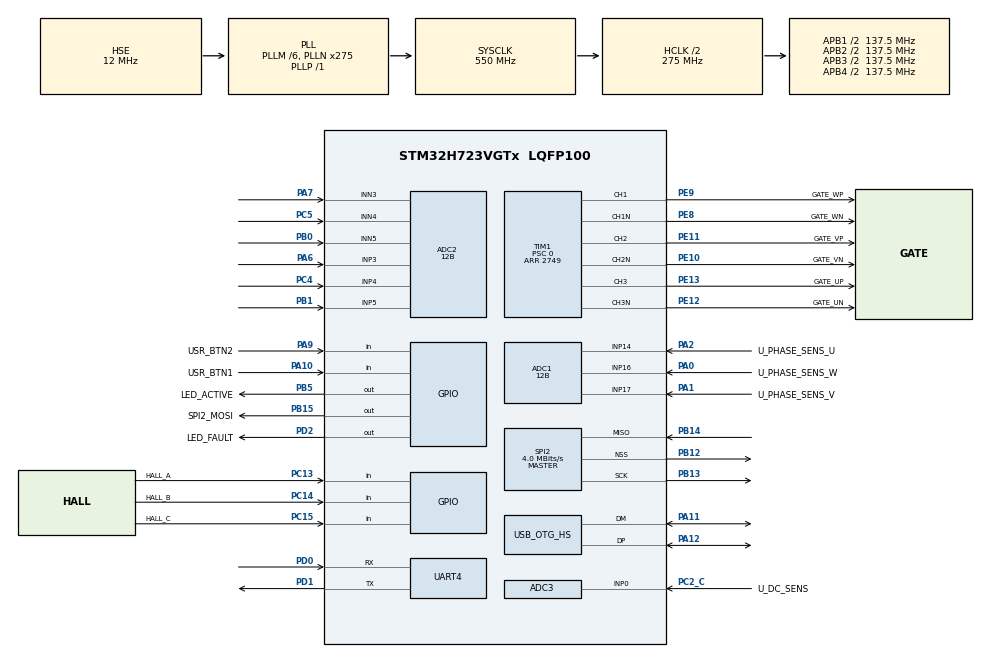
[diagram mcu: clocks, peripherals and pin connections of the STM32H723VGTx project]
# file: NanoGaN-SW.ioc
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ADC1.Channel-1\#ChannelRegularConversion=ADC_CHANNEL_14
ADC1.Channel-2\#ChannelRegularConversion=ADC_CHANNEL_17
ADC1.Channel-3\#ChannelRegularConversion=ADC_CHANNEL_16
ADC1.ClockPrescaler=ADC_CLOCK_ASYNC_DIV1
ADC1.ConversionDataManagement=ADC_CONVERSIONDATA_DMA_CIRCULAR
ADC1.EOCSelection=ADC_EOC_SEQ_CONV
ADC1.ExternalTrigConv=ADC_EXTERNALTRIG_T2_TRGO
ADC1.NbrOfConversion=3
ADC1.NbrOfConversionFlag=1
ADC1.OffsetNumber-1\#ChannelRegularConversion=ADC_OFFSET_NONE
ADC1.OffsetNumber-2\#ChannelRegularConversion=ADC_OFFSET_NONE
ADC1.OffsetNumber-3\#ChannelRegularConversion=ADC_OFFSET_NONE
ADC1.OffsetSignedSaturation-1\#ChannelRegularConversion=DISABLE
ADC1.Rank-1\#ChannelRegularConversion=1
ADC1.Rank-2\#ChannelRegularConversion=2
ADC1.Rank-3\#ChannelRegularConversion=3
ADC1.Resolution=ADC_RESOLUTION_12B
ADC1.SamplingTime-1\#ChannelRegularConversion=ADC_SAMPLETIME_32CYCLES_5
ADC1.SamplingTime-2\#ChannelRegularConversion=ADC_SAMPLETIME_32CYCLES_5
ADC1.SamplingTime-3\#ChannelRegularConversion=ADC_SAMPLETIME_32CYCLES_5
ADC1.master=1
ADC2.Channel-2\#ChannelRegularConversion=ADC_CHANNEL_5
ADC2.Channel-3\#ChannelRegularConversion=ADC_CHANNEL_4
ADC2.Channel-4\#ChannelRegularConversion=ADC_CHANNEL_3
ADC2.ConversionDataManagement=ADC_CONVERSIONDATA_DMA_CIRCULAR
ADC2.EOCSelection=ADC_EOC_SEQ_CONV
ADC2.EnableAnalogWatchDog1=true
ADC2.EnableAnalogWatchDog2=false
ADC2.ExternalTrigConv=ADC_EXTERNALTRIG_T2_TRGO
ADC2.NbrOfConversion=3
ADC2.NbrOfConversionFlag=1
ADC2.OffsetNumber-2\#ChannelRegularConversion=ADC_OFFSET_NONE
ADC2.OffsetNumber-3\#ChannelRegularConversion=ADC_OFFSET_NONE
ADC2.OffsetNumber-4\#ChannelRegularConversion=ADC_OFFSET_NONE
ADC2.OffsetSignedSaturation-2\#ChannelRegularConversion=DISABLE
ADC2.Rank-2\#ChannelRegularConversion=1
ADC2.Rank-3\#ChannelRegularConversion=2
ADC2.Rank-4\#ChannelRegularConversion=3
ADC2.Resolution=ADC_RESOLUTION_12B
ADC2.SamplingTime-2\#ChannelRegularConversion=ADC_SAMPLETIME_32CYCLES_5
ADC2.SamplingTime-3\#ChannelRegularConversion=ADC_SAMPLETIME_32CYCLES_5
ADC2.SamplingTime-4\#ChannelRegularConversion=ADC_SAMPLETIME_32CYCLES_5
ADC2.SingleDiff-2\#ChannelRegularConversion=ADC_DIFFERENTIAL_ENDED
ADC2.SingleDiff-3\#ChannelRegularConversion=ADC_DIFFERENTIAL_ENDED
ADC2.SingleDiff-4\#ChannelRegularConversion=ADC_DIFFERENTIAL_ENDED
ADC2.WatchdogMode=ADC_ANALOGWATCHDOG_ALL_REG
ADC3.AWD1FilteringConfig=ADC3_AWD_FILTERING_8SAMPLES
ADC3.Channel-2\#ChannelRegularConversion=ADC_CHANNEL_0
ADC3.ClockPrescaler=ADC_CLOCK_ASYNC_DIV1
ADC3.ContinuousConvMode=DISABLE
ADC3.ConversionDataManagement=ADC_CONVERSIONDATA_DMA_CIRCULAR
ADC3.DMAContinuousRequests=ENABLE
ADC3.EOCSelection=ADC_EOC_SEQ_CONV
ADC3.EnableAnalogWatchDog1=true
ADC3.EnableAnalogWatchDog2=false
ADC3.EnableRegularConversion=ENABLE
ADC3.ExternalTrigConv=ADC_EXTERNALTRIG_T2_TRGO
ADC3.NbrOfConversion=1
ADC3.NbrOfConversionFlag=1
ADC3.OffsetNumber-2\#ChannelRegularConversion=ADC_OFFSET_NONE
ADC3.OffsetSign-2\#ChannelRegularConversion=ADC3_OFFSET_SIGN_NEGATIVE
ADC3.OversamplingMode=DISABLE
ADC3.Rank-2\#ChannelRegularConversion=1
ADC3.SamplingTime-2\#ChannelRegularConversion=ADC3_SAMPLETIME_47CYCLES_5
ADC3.WatchdogMode=ADC_ANALOGWATCHDOG_ALL_REG
CORTEX_M7.CPU_DCache=Disabled
CORTEX_M7.CPU_ICache=Enabled
CORTEX_M7.default_mode_Activation=1
Dma.ADC1.0.Direction=DMA_PERIPH_TO_MEMORY
Dma.ADC1.0.EventEnable=DISABLE
Dma.ADC1.0.FIFOMode=DMA_FIFOMODE_DISABLE
Dma.ADC1.0.Instance=DMA1_Stream0
Dma.ADC1.0.MemDataAlignment=DMA_MDATAALIGN_WORD
Dma.ADC1.0.MemInc=DMA_MINC_ENABLE
Dma.ADC1.0.Mode=DMA_CIRCULAR
Dma.ADC1.0.PeriphDataAlignment=DMA_PDATAALIGN_WORD
Dma.ADC1.0.PeriphInc=DMA_PINC_DISABLE
Dma.ADC1.0.Polarity=HAL_DMAMUX_REQ_GEN_RISING
Dma.ADC1.0.Priority=DMA_PRIORITY_LOW
Dma.ADC1.0.RequestNumber=1
Dma.ADC1.0.SignalID=NONE
Dma.ADC1.0.SyncEnable=DISABLE
Dma.ADC1.0.SyncPolarity=HAL_DMAMUX_SYNC_NO_EVENT
Dma.ADC1.0.SyncRequestNumber=1
Dma.ADC1.0.SyncSignalID=NONE
Dma.ADC2.1.Direction=DMA_PERIPH_TO_MEMORY
Dma.ADC2.1.EventEnable=DISABLE
Dma.ADC2.1.FIFOMode=DMA_FIFOMODE_DISABLE
Dma.ADC2.1.Instance=DMA1_Stream1
Dma.ADC2.1.MemDataAlignment=DMA_MDATAALIGN_WORD
Dma.ADC2.1.MemInc=DMA_MINC_ENABLE
Dma.ADC2.1.Mode=DMA_CIRCULAR
Dma.ADC2.1.PeriphDataAlignment=DMA_PDATAALIGN_WORD
Dma.ADC2.1.PeriphInc=DMA_PINC_DISABLE
Dma.ADC2.1.Polarity=HAL_DMAMUX_REQ_GEN_RISING
Dma.ADC2.1.Priority=DMA_PRIORITY_LOW
Dma.ADC2.1.RequestNumber=1
Dma.ADC2.1.SignalID=NONE
Dma.ADC2.1.SyncEnable=DISABLE
Dma.ADC2.1.SyncPolarity=HAL_DMAMUX_SYNC_NO_EVENT
Dma.ADC2.1.SyncRequestNumber=1
Dma.ADC2.1.SyncSignalID=NONE
Dma.ADC3.2.Direction=DMA_PERIPH_TO_MEMORY
Dma.ADC3.2.EventEnable=DISABLE
Dma.ADC3.2.FIFOMode=DMA_FIFOMODE_DISABLE
Dma.ADC3.2.Instance=DMA1_Stream2
Dma.ADC3.2.MemDataAlignment=DMA_MDATAALIGN_WORD
Dma.ADC3.2.MemInc=DMA_MINC_ENABLE
Dma.ADC3.2.Mode=DMA_CIRCULAR
Dma.ADC3.2.PeriphDataAlignment=DMA_PDATAALIGN_WORD
Dma.ADC3.2.PeriphInc=DMA_PINC_DISABLE
Dma.ADC3.2.Polarity=HAL_DMAMUX_REQ_GEN_RISING
Dma.ADC3.2.Priority=DMA_PRIORITY_LOW
Dma.ADC3.2.RequestNumber=1
Dma.ADC3.2.SignalID=NONE
Dma.ADC3.2.SyncEnable=DISABLE
Dma.ADC3.2.SyncPolarity=HAL_DMAMUX_SYNC_NO_EVENT
Dma.ADC3.2.SyncRequestNumber=1
Dma.ADC3.2.SyncSignalID=NONE
Dma.Request0=ADC1
Dma.Request1=ADC2
Dma.Request2=ADC3
Dma.Request3=SPI2_RX
Dma.SPI2_RX.3.Direction=DMA_PERIPH_TO_MEMORY
Dma.SPI2_RX.3.EventEnable=DISABLE
Dma.SPI2_RX.3.FIFOMode=DMA_FIFOMODE_DISABLE
Dma.SPI2_RX.3.Instance=DMA2_Stream0
Dma.SPI2_RX.3.MemDataAlignment=DMA_MDATAALIGN_HALFWORD
Dma.SPI2_RX.3.MemInc=DMA_MINC_ENABLE
Dma.SPI2_RX.3.Mode=DMA_CIRCULAR
Dma.SPI2_RX.3.PeriphDataAlignment=DMA_PDATAALIGN_HALFWORD
Dma.SPI2_RX.3.PeriphInc=DMA_PINC_DISABLE
Dma.SPI2_RX.3.Polarity=HAL_DMAMUX_REQ_GEN_RISING
Dma.SPI2_RX.3.Priority=DMA_PRIORITY_LOW
Dma.SPI2_RX.3.RequestNumber=1
Dma.SPI2_RX.3.SignalID=NONE
Dma.SPI2_RX.3.SyncEnable=DISABLE
Dma.SPI2_RX.3.SyncPolarity=HAL_DMAMUX_SYNC_NO_EVENT
Dma.SPI2_RX.3.SyncRequestNumber=1
Dma.SPI2_RX.3.SyncSignalID=NONE
FREERTOS.Tasks01=defaultTask,24,128,StartDefaultTask,Default,NULL,Dynamic,NULL,NULL
FREERTOS.configENABLE_FPU=1
FREERTOS.configUSE_NEWLIB_REENTRANT=1
Mcu.Family=STM32H7
Mcu.Name=STM32H723VGTx
Mcu.Package=LQFP100
NVIC.ADC3_IRQn=true\:5\:0\:false\:false\:true\:true\:true\:true\:true
NVIC.ADC_IRQn=true\:5\:0\:false\:false\:true\:true\:true\:true\:true
NVIC.OTG_HS_IRQn=true\:5\:0\:false\:false\:true\:true\:true\:true\:true
NVIC.PriorityGroup=NVIC_PRIORITYGROUP_4
NVIC.SPI2_IRQn=true\:5\:0\:true\:false\:true\:true\:false\:true\:true
NVIC.TIM1_UP_IRQn=true\:5\:0\:false\:false\:true\:true\:true\:true\:true
NVIC.TIM4_IRQn=true\:5\:0\:false\:false\:true\:true\:true\:true\:true
NVIC.TIM6_DAC_IRQn=true\:15\:0\:true\:false\:true\:false\:false\:true\:true
NVIC.TimeBase=TIM6_DAC_IRQn
NVIC.TimeBaseIP=TIM6
PA0.GPIO_Label=U_PHASE_SENS_W
PA0.Mode=IN16-Single-Ended
PA0.Signal=ADC1_INP16
PA1.GPIO_Label=U_PHASE_SENS_V
PA1.Mode=IN17-Single-Ended
PA1.Signal=ADC1_INP17
PA10.GPIO_Label=USR_BTN1
PA10.GPIO_PuPd=GPIO_PULLUP
PA10.Signal=GPIO_Input
PA11.Mode=Device_Only_FS
PA11.Signal=USB_OTG_HS_DM
PA12.Mode=Device_Only_FS
PA12.Signal=USB_OTG_HS_DP
PA13(JTMS/SWDIO).Mode=Trace_Asynchronous_SW
PA13(JTMS/SWDIO).Signal=DEBUG_JTMS-SWDIO
PA14(JTCK/SWCLK).Mode=Trace_Asynchronous_SW
PA14(JTCK/SWCLK).Signal=DEBUG_JTCK-SWCLK
PA2.GPIO_Label=U_PHASE_SENS_U
PA2.Signal=ADCx_INP14
PA6.Signal=ADCx_INP3
PA7.Signal=ADCx_INN3
PA9.GPIO_Label=USR_BTN2
PA9.GPIO_PuPd=GPIO_PULLUP
PA9.Signal=GPIO_Input
PB0.Signal=ADCx_INN5
PB1.Signal=ADCx_INP5
PB12.Mode=NSS_Signal_Hard_Output
PB12.Signal=SPI2_NSS
PB13.Mode=RX_Only_Simplex_Unidirect_Master
PB13.Signal=SPI2_SCK
PB14.Mode=RX_Only_Simplex_Unidirect_Master
PB14.Signal=SPI2_MISO
PB15.GPIO_Label=SPI2_MOSI
PB15.GPIO_Speed=GPIO_SPEED_FREQ_HIGH
PB15.Signal=GPIO_Output
PB3(JTDO/TRACESWO).Mode=Trace_Asynchronous_SW
PB3(JTDO/TRACESWO).Signal=DEBUG_JTDO-SWO
PB5.GPIO_Label=LED_ACTIVE
PB5.Signal=GPIO_Output
PC13.GPIO_Label=HALL_A
PC13.GPIO_PuPd=GPIO_PULLUP
PC13.Signal=GPIO_Input
PC14-OSC32_IN.GPIO_Label=HALL_B
PC14-OSC32_IN.Signal=GPIO_Input
PC15-OSC32_OUT.GPIO_Label=HALL_C
PC15-OSC32_OUT.GPIO_PuPd=GPIO_PULLUP
PC15-OSC32_OUT.Signal=GPIO_Input
PC2_C.GPIO_Label=U_DC_SENS
PC2_C.GPIO_Mode=GPIO_MODE_ANALOG
PC2_C.GPIO_Pd=GPIO_NOPULL
PC2_C.Mode=IN0-Single-Ended
PC2_C.Signal=ADC3_INP0
PC4.Signal=ADCx_INP4
PC5.Signal=ADCx_INN4
PD0.Mode=Asynchronous
PD0.Signal=UART4_RX
PD1.Mode=Asynchronous
PD1.Signal=UART4_TX
PD2.GPIO_Label=LED_FAULT
PD2.Signal=GPIO_Output
PE10.GPIO_Label=GATE_VN
PE10.Mode=PWM Generation2 CH2 CH2N
PE10.Signal=TIM1_CH2N
PE11.GPIO_Label=GATE_VP
PE11.Signal=S_TIM1_CH2
PE12.GPIO_Label=GATE_UN
PE12.Mode=PWM Generation3 CH3 CH3N
PE12.Signal=TIM1_CH3N
PE13.GPIO_Label=GATE_UP
PE13.Signal=S_TIM1_CH3
PE8.GPIO_Label=GATE_WN
PE8.Mode=PWM Generation1 CH1 CH1N
PE8.Signal=TIM1_CH1N
PE9.GPIO_Label=GATE_WP
PE9.Signal=S_TIM1_CH1
PH0-OSC_IN.Mode=HSE-External-Oscillator
PH0-OSC_IN.Signal=RCC_OSC_IN
PH1-OSC_OUT.Mode=HSE-External-Oscillator
PH1-OSC_OUT.Signal=RCC_OSC_OUT
ProjectManager.HeapSize=0x200
ProjectManager.StackSize=0x400
ProjectManager.TargetToolchain=CMake
RCC.ADCCLockSelection=RCC_ADCCLKSOURCE_PLL3
RCC.ADCFreq_Value=160000000
RCC.APB1Freq_Value=137500000
RCC.APB2Freq_Value=137500000
RCC.APB3Freq_Value=137500000
RCC.APB4Freq_Value=137500000
RCC.CortexFreq_Value=550000000
RCC.D1PPRE=RCC_APB3_DIV2
RCC.D2PPRE1=RCC_APB1_DIV2
RCC.D2PPRE2=RCC_APB2_DIV2
RCC.D3PPRE=RCC_APB4_DIV2
RCC.DIVM1=6
RCC.DIVM2=1
RCC.DIVM3=6
RCC.DIVN1=275
RCC.DIVN2=32
RCC.DIVN3=160
RCC.DIVP1=1
RCC.DIVP2=12
RCC.DIVQ1=11
RCC.HCLKFreq_Value=275000000
RCC.HPRE=RCC_HCLK_DIV2
RCC.HSE_VALUE=12000000
RCC.PLLSourceVirtual=RCC_PLLSOURCE_HSE
RCC.SPI123CLockSelection=RCC_SPI123CLKSOURCE_PLL2
RCC.SYSCLKFreq_VALUE=550000000
RCC.SYSCLKSource=RCC_SYSCLKSOURCE_PLLCLK
RCC.USBCLockSelection=RCC_USBCLKSOURCE_HSI48
RCC.USBFreq_Value=48000000
SH.ADCx_INN3.0=ADC2_INN3,IN3-Differential
SH.ADCx_INN4.0=ADC2_INN4,IN4-Differential
SH.ADCx_INN5.0=ADC2_INN5,IN5-Differential
SH.ADCx_INP14.0=ADC1_INP14,IN14-Single-Ended
SH.ADCx_INP3.0=ADC2_INP3,IN3-Differential
SH.ADCx_INP4.0=ADC2_INP4,IN4-Differential
SH.ADCx_INP5.0=ADC2_INP5,IN5-Differential
SH.S_TIM1_CH1.0=TIM1_CH1,PWM Generation1 CH1 CH1N
SH.S_TIM1_CH2.0=TIM1_CH2,PWM Generation2 CH2 CH2N
SH.S_TIM1_CH3.0=TIM1_CH3,PWM Generation3 CH3 CH3N
SPI2.BaudRatePrescaler=SPI_BAUDRATEPRESCALER_8
SPI2.CLKPhase=SPI_PHASE_2EDGE
SPI2.CalculateBaudRate=4.0 MBits/s
SPI2.DataSize=SPI_DATASIZE_16BIT
SPI2.Direction=SPI_DIRECTION_2LINES_RXONLY
SPI2.IOSwap=SPI_IO_SWAP_DISABLE
SPI2.MasterInterDataIdleness=SPI_MASTER_INTERDATA_IDLENESS_02CYCLE
SPI2.MasterKeepIOState=SPI_MASTER_KEEP_IO_STATE_ENABLE
SPI2.MasterReceiverAutoSusp=SPI_MASTER_RX_AUTOSUSP_DISABLE
SPI2.MasterSSIdleness=SPI_MASTER_SS_IDLENESS_00CYCLE
SPI2.Mode=SPI_MODE_MASTER
SPI2.VirtualNSS=VM_NSSHARD
SPI2.VirtualType=VM_MASTER
TIM1.AutoReloadPreload=TIM_AUTORELOAD_PRELOAD_DISABLE
TIM1.Break2Polarity=TIM_BREAK2POLARITY_LOW
TIM1.Break2State=TIM_BREAK2_DISABLE
TIM1.BreakState=TIM_BREAK_DISABLE
TIM1.Channel-PWM\ Generation1\ CH1\ CH1N=TIM_CHANNEL_1
TIM1.Channel-PWM\ Generation2\ CH2\ CH2N=TIM_CHANNEL_2
TIM1.Channel-PWM\ Generation3\ CH3\ CH3N=TIM_CHANNEL_3
TIM1.Channel-PWM\ Generation4\ No\ Output=TIM_CHANNEL_4
TIM1.CounterMode=TIM_COUNTERMODE_CENTERALIGNED1
TIM1.DeadTime=50
TIM1.Period=2749
TIM1.Prescaler=0
TIM1.RepetitionCounter=1
TIM2.AutoReloadPreload=TIM_AUTORELOAD_PRELOAD_ENABLE
TIM2.Period=54
TIM2.Prescaler=4
TIM2.TIM_MasterOutputTrigger=TIM_TRGO_UPDATE
TIM2.TIM_MasterSlaveMode=TIM_MASTERSLAVEMODE_ENABLE
TIM4.Period=27499
UART4.SwapParam=UART_ADVFEATURE_SWAP_ENABLE
USB_OTG_HS.VirtualMode-Device_Only_FS=Device_Only_FS
VP_CORDIC_VS_CORDIC.Mode=CORDIC_Activate
VP_FREERTOS_VS_CMSIS_V2.Mode=CMSIS_V2
VP_MEMORYMAP_VS_MEMORYMAP.Mode=CurAppReg
VP_SYS_VS_tim6.Mode=TIM6
VP_TIM1_VS_ClockSourceINT.Mode=Internal
VP_TIM1_VS_no_output4.Mode=PWM Generation4 No Output
VP_TIM2_VS_ClockSourceINT.Mode=Internal
VP_TIM3_VS_ClockSourceINT.Mode=Internal
VP_TIM4_VS_ClockSourceINT.Mode=Internal
VP_TIM5_VS_ClockSourceINT.Mode=Internal
VP_VREFBUF_V_VREFBUF.Mode=ExternalMode
board=custom

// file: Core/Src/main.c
/* USER CODE BEGIN Header */
/**
  ******************************************************************************
  * @file           : main.c
  * @brief          : Main program body
  ******************************************************************************
  * @attention
  *
  * Copyright (c) 2026 STMicroelectronics.
  * All rights reserved.
  *
  * This software is licensed under terms that can be found in the LICENSE file
  * in the root directory of this software component.
  * If no LICENSE file comes with this software, it is provided AS-IS.
  *
  ******************************************************************************
  */
/* USER CODE END Header */
#include "main.h"
#include "cmsis_os.h"
#include "adc.h"
#include "cordic.h"
#include "dma.h"
#include "spi.h"
#include "tim.h"
#include "usart.h"
#include "usb_otg.h"
#include "gpio.h"

/* USER CODE BEGIN Includes */

#include "bootloader.h"
#include "tusb.h"
#include "measurement.h"
#include "parameters.h"
#include <stdint.h>

/* USER CODE END Includes */

void SystemClock_Config(void);
void PeriphCommonClock_Config(void);
static void MPU_Config(void);
void MX_FREERTOS_Init(void);

int main(void)
{

  /* USER CODE BEGIN 1 */

  /* Must run before anything else: if a "dfu" command requested a bootloader
     entry, this jumps into the system memory DFU bootloader and never
     returns. Otherwise (normal boot) it's a no-op. */
  Bootloader_CheckAndJump();

  /* USER CODE END 1 */

  /* MPU Configuration--------------------------------------------------------*/
  MPU_Config();

  /* Enable the CPU Cache */

  /* Enable I-Cache---------------------------------------------------------*/
  SCB_EnableICache();

  /* MCU Configuration--------------------------------------------------------*/

  /* Reset of all peripherals, Initializes the Flash interface and the Systick. */
  HAL_Init();

  /* Configure the system clock */
  SystemClock_Config();

  /* Configure the peripherals common clocks */
  PeriphCommonClock_Config();

  /* Initialize all configured peripherals */
  MX_GPIO_Init();
  MX_DMA_Init();
  MX_UART4_Init();
  MX_SPI2_Init();
  MX_TIM1_Init();
  MX_ADC1_Init();
  MX_ADC3_Init();
  MX_ADC2_Init();
  MX_TIM2_Init();
  MX_USB_OTG_HS_PCD_Init();
  MX_CORDIC_Init();
  MX_TIM5_Init();
  MX_TIM3_Init();
  MX_TIM4_Init();
  /* USER CODE BEGIN 2 */

  tusb_init();
  HAL_SPI_Receive_DMA(&hspi2, (uint8_t*)&gInverterMeasurements.uAngleRaw, 1);
  HAL_GPIO_WritePin(SPI2_MOSI_GPIO_Port, SPI2_MOSI_Pin, GPIO_PIN_SET);

  /* USER CODE END 2 */

  /* Init scheduler */
  osKernelInitialize();  /* Call init function for freertos objects (in cmsis_os2.c) */
  MX_FREERTOS_Init();

  /* Start scheduler */
  osKernelStart();

  /* We should never get here as control is now taken by the scheduler */

  /* Infinite loop */
  while (1)
  {

  }
}

void SystemClock_Config(void)
{
  RCC_OscInitTypeDef RCC_OscInitStruct = {0};
  RCC_ClkInitTypeDef RCC_ClkInitStruct = {0};

  /** Supply configuration update enable
  */
  HAL_PWREx_ConfigSupply(PWR_LDO_SUPPLY);

  /** Configure the main internal regulator output voltage
  */
  __HAL_PWR_VOLTAGESCALING_CONFIG(PWR_REGULATOR_VOLTAGE_SCALE0);

  while(!__HAL_PWR_GET_FLAG(PWR_FLAG_VOSRDY)) {}

  /** Initializes the RCC Oscillators according to the specified parameters
  * in the RCC_OscInitTypeDef structure.
  */
  RCC_OscInitStruct.OscillatorType = RCC_OSCILLATORTYPE_HSI48|RCC_OSCILLATORTYPE_HSE;
  RCC_OscInitStruct.HSEState = RCC_HSE_ON;
  RCC_OscInitStruct.HSI48State = RCC_HSI48_ON;
  RCC_OscInitStruct.PLL.PLLState = RCC_PLL_ON;
  RCC_OscInitStruct.PLL.PLLSource = RCC_PLLSOURCE_HSE;
  RCC_OscInitStruct.PLL.PLLM = 6;
  RCC_OscInitStruct.PLL.PLLN = 275;
  RCC_OscInitStruct.PLL.PLLP = 1;
  RCC_OscInitStruct.PLL.PLLQ = 11;
  RCC_OscInitStruct.PLL.PLLR = 2;
  RCC_OscInitStruct.PLL.PLLRGE = RCC_PLL1VCIRANGE_1;
  RCC_OscInitStruct.PLL.PLLVCOSEL = RCC_PLL1VCOWIDE;
  RCC_OscInitStruct.PLL.PLLFRACN = 0;
  if (HAL_RCC_OscConfig(&RCC_OscInitStruct) != HAL_OK)
  {
    Error_Handler();
  }

  /** Initializes the CPU, AHB and APB buses clocks
  */
  RCC_ClkInitStruct.ClockType = RCC_CLOCKTYPE_HCLK|RCC_CLOCKTYPE_SYSCLK
                              |RCC_CLOCKTYPE_PCLK1|RCC_CLOCKTYPE_PCLK2
                              |RCC_CLOCKTYPE_D3PCLK1|RCC_CLOCKTYPE_D1PCLK1;
  RCC_ClkInitStruct.SYSCLKSource = RCC_SYSCLKSOURCE_PLLCLK;
  RCC_ClkInitStruct.SYSCLKDivider = RCC_SYSCLK_DIV1;
  RCC_ClkInitStruct.AHBCLKDivider = RCC_HCLK_DIV2;
  RCC_ClkInitStruct.APB3CLKDivider = RCC_APB3_DIV2;
  RCC_ClkInitStruct.APB1CLKDivider = RCC_APB1_DIV2;
  RCC_ClkInitStruct.APB2CLKDivider = RCC_APB2_DIV2;
  RCC_ClkInitStruct.APB4CLKDivider = RCC_APB4_DIV2;

  if (HAL_RCC_ClockConfig(&RCC_ClkInitStruct, FLASH_LATENCY_3) != HAL_OK)
  {
    Error_Handler();
  }
}

void PeriphCommonClock_Config(void)
{
  RCC_PeriphCLKInitTypeDef PeriphClkInitStruct = {0};

  /** Initializes the peripherals clock
  */
  PeriphClkInitStruct.PeriphClockSelection = RCC_PERIPHCLK_ADC;
  PeriphClkInitStruct.PLL3.PLL3M = 6;
  PeriphClkInitStruct.PLL3.PLL3N = 160;
  PeriphClkInitStruct.PLL3.PLL3P = 2;
  PeriphClkInitStruct.PLL3.PLL3Q = 2;
  PeriphClkInitStruct.PLL3.PLL3R = 2;
  PeriphClkInitStruct.PLL3.PLL3RGE = RCC_PLL3VCIRANGE_1;
  PeriphClkInitStruct.PLL3.PLL3VCOSEL = RCC_PLL3VCOWIDE;
  PeriphClkInitStruct.PLL3.PLL3FRACN = 0;
  PeriphClkInitStruct.AdcClockSelection = RCC_ADCCLKSOURCE_PLL3;
  if (HAL_RCCEx_PeriphCLKConfig(&PeriphClkInitStruct) != HAL_OK)
  {
    Error_Handler();
  }
}

 /* MPU Configuration */

void MPU_Config(void)
{
  MPU_Region_InitTypeDef MPU_InitStruct = {0};

  /* Disables the MPU */
  HAL_MPU_Disable();

  /** Initializes and configures the Region and the memory to be protected
  */
  MPU_InitStruct.Enable = MPU_REGION_ENABLE;
  MPU_InitStruct.Number = MPU_REGION_NUMBER0;
  MPU_InitStruct.BaseAddress = 0x0;
  MPU_InitStruct.Size = MPU_REGION_SIZE_4GB;
  MPU_InitStruct.SubRegionDisable = 0x87;
  MPU_InitStruct.TypeExtField = MPU_TEX_LEVEL0;
  MPU_InitStruct.AccessPermission = MPU_REGION_NO_ACCESS;
  MPU_InitStruct.DisableExec = MPU_INSTRUCTION_ACCESS_DISABLE;
  MPU_InitStruct.IsShareable = MPU_ACCESS_SHAREABLE;
  MPU_InitStruct.IsCacheable = MPU_ACCESS_NOT_CACHEABLE;
  MPU_InitStruct.IsBufferable = MPU_ACCESS_NOT_BUFFERABLE;

  HAL_MPU_ConfigRegion(&MPU_InitStruct);
  /* Enables the MPU */
  HAL_MPU_Enable(MPU_PRIVILEGED_DEFAULT);

}

void HAL_TIM_PeriodElapsedCallback(TIM_HandleTypeDef *htim)
{
  if (htim->Instance == TIM6)
  {
    HAL_IncTick();
  }
}

void Error_Handler(void)
{
  __disable_irq();
  while (1)
  {
  }
}

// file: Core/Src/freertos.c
/* USER CODE BEGIN Header */
/**
  ******************************************************************************
  * File Name          : freertos.c
  * Description        : Code for freertos applications
  ******************************************************************************
  * @attention
  *
  * Copyright (c) 2026 STMicroelectronics.
  * All rights reserved.
  *
  * This software is licensed under terms that can be found in the LICENSE file
  * in the root directory of this software component.
  * If no LICENSE file comes with this software, it is provided AS-IS.
  *
  ******************************************************************************
  */
/* USER CODE END Header */

#include "FreeRTOS.h"
#include "task.h"
#include "main.h"
#include "cmsis_os.h"

/* USER CODE BEGIN Includes */
#include "core_tasks.h"
#include "user_task.h"
#include "spi.h"

/* USER CODE END Includes */

/* Definitions for defaultTask */
osThreadId_t defaultTaskHandle;
const osThreadAttr_t defaultTask_attributes = {
  .name = "defaultTask",
  .stack_size = 128 * 4,
  .priority = (osPriority_t) osPriorityNormal,
};

void StartDefaultTask(void *argument);

void MX_FREERTOS_Init(void); /* (MISRA C 2004 rule 8.1) */

void MX_FREERTOS_Init(void) {

  /* Create the thread(s) */
  /* creation of defaultTask */
  defaultTaskHandle = osThreadNew(StartDefaultTask, NULL, &defaultTask_attributes);

  /* USER CODE BEGIN RTOS_THREADS */
  /* add threads, ... */
  initCoreTasks();
  MainAppTask_Init();
  /* USER CODE END RTOS_THREADS */

}

void StartDefaultTask(void *argument)
{
  /* USER CODE BEGIN StartDefaultTask */

  osDelay(1000); // Wait for the system to stabilize before starting the main application task

  MainAppTask_Wake();

  osThreadExit();

  /* Infinite loop */
  for(;;)
  {
    osDelay(1);
  }
  /* USER CODE END StartDefaultTask */
}
